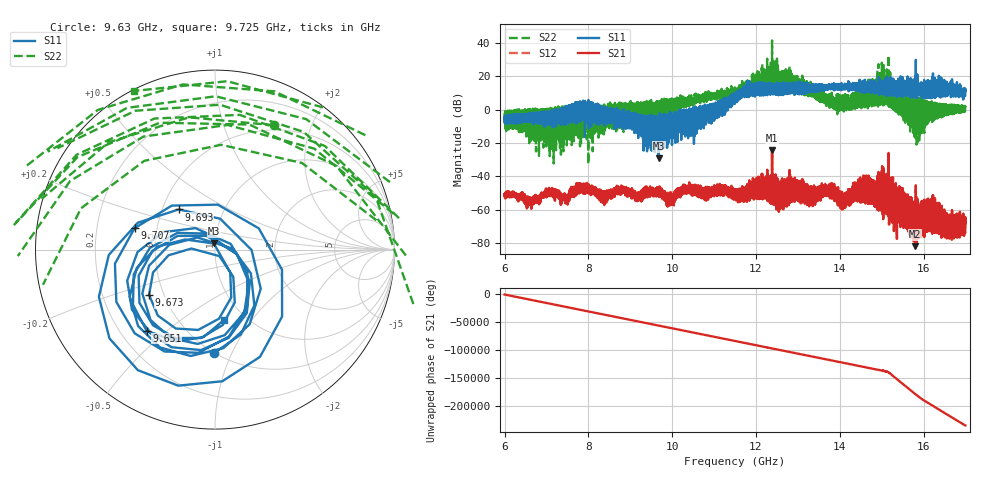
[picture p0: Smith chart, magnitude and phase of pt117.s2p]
#  HZ  S  RI  R  50.00
! Rohde & Schwarz Vector Network Analyzer
! Rohde-Schwarz,ZNA67-2Port,1332450062101215,3.01
! Created: UTC 10/19/2026, 3:32:07 PM
! freq[Hz]  re:S11  im:S11  re:S21  im:S21  re:S12  im:S12  re:S22  im:S22
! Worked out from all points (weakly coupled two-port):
!   11001 points, 6 GHz to 17 GHz, reference 50 ohm
!   highest |S21| = -24.45 dB at 12.38 GHz (marker M1); lowest = -82.0 dB at 15.8 GHz (marker M2)
!   lowest |S11| = -29.2 dB at 9.68 GHz (marker M3), VSWR 1.07, Z = 49.2 + j3.35 ohm
!   |S11| at or under -10 dB: 9.257862 GHz to 9.2611 GHz (3.238 MHz wide, 0.035 % of centre); 9.585606 GHz to 9.590112 GHz (4.506 MHz wide, 0.047 % of centre); 9.666977 GHz to 9.67156 GHz (4.583 MHz wide, 0.0474 % of centre) (the widest 3 of 147)
!   |S22| runs from -32.7 to 41.6 dB; largest |S21 - S12| = 0.0047
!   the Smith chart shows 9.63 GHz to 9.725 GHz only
!   S11 on the Smith chart (normalised r, x): 9.63 GHz: 0.50, -0.86; 9.651 GHz: 0.31, -0.43; 9.673 GHz: 0.41, -0.26; 9.693 GHz: 0.61, +0.30; 9.707 GHz: 0.37, +0.11; 9.725 GHz: 0.81, -0.74
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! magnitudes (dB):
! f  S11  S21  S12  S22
! 6 GHz  -4.7  -50.9  -51.1  -2.0
! 7.475 GHz  -0.9  -54.4  -54.2  -6.1
! 7.834 GHz  -5.4  -48.2  -48.0  -8.6
! 8.354 GHz  0.7  -49.5  -49.4  1.5
! 9.63 GHz  -4.8  -50.8  -50.8  -2.3
! 9.651 GHz  -4.6  -49.2  -49.4  2.4
! 9.667 GHz  -10.1  -50.1  -50.4  -4.0
! 9.673 GHz  -7.0  -48.2  -48.5  2.6
! 9.68 GHz  -29.2  -49.9  -50.2  1.9
! 9.693 GHz  -10.4  -50.2  -50.6  2.6
! 9.707 GHz  -6.7  -49.0  -49.5  5.1
! 9.725 GHz  -8.1  -51.2  -51.4  -0.1
! 9.918 GHz  -4.2  -53.5  -53.1  4.9
! 10.29 GHz  -7.9  -48.4  -48.5  2.2
! 11.5 GHz  5.3  -51.5  -51.5  9.2
! 12.38 GHz  10.0  -24.5  -24.4  41.6
! 13.33 GHz  11.8  -54.0  -54.1  9.3
! 13.73 GHz  13.1  -47.8  -47.6  5.5
! 13.99 GHz  14.8  -50.9  -50.4  6.6
! 15.17 GHz  10.8  -59.8  -59.5  3.7
! 15.8 GHz  9.0  -82.0  -81.4  -16.7
! 17 GHz  11.3  -68.2  -67.8  1.5
